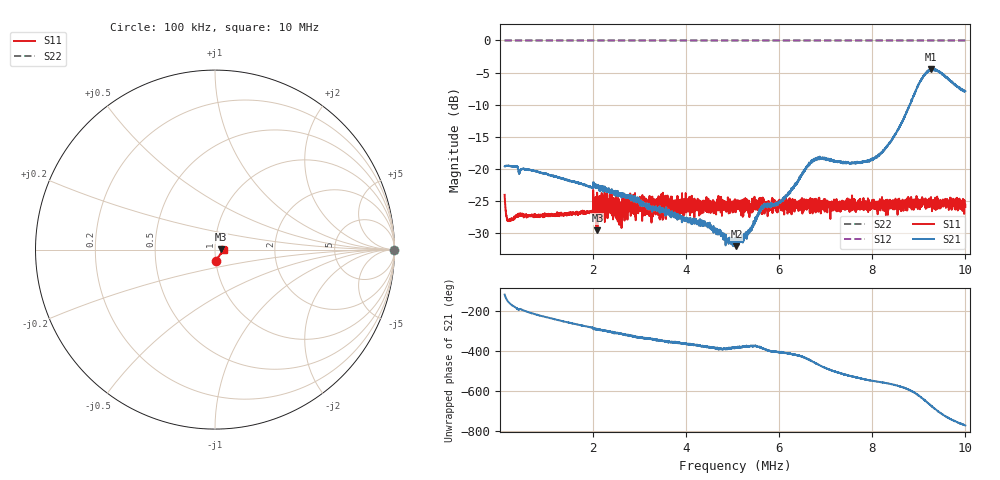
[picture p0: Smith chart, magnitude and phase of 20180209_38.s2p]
! Anritsu VNA Master:  Model: MS2026C/19
! SN:  1815009
! /card0/usr/20180209_38.s2p
! Existing Calibration Information:
! TYPE:  Current Settings,  Active Cal Settings
! TIME:  09/02/2018 11:12:23 PM,  09/02/2018 11:58:48 AM
! INTERNAL TEMP:  52.8 C,  48.8 C
! # POINTS:  4001,  4001
! START FREQ:  100.000 kHz,  100.000 kHz
! STOP FREQ:  10.000 MHz,  10.000 MHz
! SOURCE POWER:  Low,  Low
! IFBW:  500 Hz,  500 Hz
! AVG FACTOR:  5 ,  1
! REF PLANE 1:  0 mm,  0 mm
! REF PLANE 2:  0 mm,  0 mm
! CAL TYPE:  1P2P S11,S21,  1P2P S11,S21
! CAL METHOD:  SOLT,  SOLT
! CAL LINE TYPE:  Coax,  Coax
! DUT PORT 1:  N-Conn(M),  N-Conn(M)
! DUT PORT 2:  N-Conn(M),  N-Conn(M)
! CAL STATUS:  OK: Accuracy High,  --
# GHZ S RI R 50.0
! FREQ.GHZ  S11RE  S11IM  S21RE  S21IM  S12RE  S12IM  S22RE  S22IM
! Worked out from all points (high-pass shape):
!   4001 points, 100 kHz to 10 MHz, reference 50 ohm
!   highest |S21| = -4.47 dB at 9.262 MHz (marker M1); lowest = -32.1 dB at 5.082 MHz (marker M2)
!   |S21| within 3 dB of the highest: 8.956 MHz to 9.87 MHz (913.6 kHz wide, 9.71 % of centre); 9.873648 MHz to 9.881708 MHz (8.06 kHz wide, 0.0816 % of centre)
!   lowest |S11| = -29.6 dB at 2.095 MHz (marker M3), VSWR 1.07, Z = 53.4 + j0.246 ohm
!   |S11| at or under -10 dB: start of sweep to end of sweep
!   |S22| runs from 0.0 to 0.0 dB; largest |S21 - S12| = 1.2
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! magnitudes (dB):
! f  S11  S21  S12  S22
! 100 kHz  -24.1  -19.6  0.0  0.0
! 159.4 kHz  -28.1  -19.5  0.0  0.0
! 201.5 kHz  -28.0  -19.5  0.0  0.0
! 429.2 kHz  -27.2  -20.5  0.0  0.0
! 1.751 MHz  -26.8  -22.4  0.0  0.0
! 2.095 MHz  -29.6  -22.5  0.0  0.0
! 2.575 MHz  -25.6  -24.2  0.0  0.0
! 2.793 MHz  -26.2  -24.4  0.0  0.0
! 3.402 MHz  -26.8  -26.1  0.0  0.0
! 4.434 MHz  -25.3  -28.7  0.0  0.0
! 5.05 MHz  -24.8  -31.4  0.0  0.0
! 5.082 MHz  -25.1  -32.1  0.0  0.0
! 5.389 MHz  -25.9  -29.6  0.0  0.0
! 5.646 MHz  -24.5  -25.8  0.0  0.0
! 6.164 MHz  -25.7  -24.2  0.0  0.0
! 6.701 MHz  -26.0  -19.0  0.0  0.0
! 7.884 MHz  -26.1  -18.7  0.0  0.0
! 8.352 MHz  -25.7  -16.2  0.0  0.0
! 8.631 MHz  -25.4  -12.8  0.0  0.0
! 9.04 MHz  -24.9  -6.3  0.0  0.0
! 9.262 MHz  -24.4  -4.5  0.0  0.0
! 10 MHz  -25.9  -7.9  0.0  0.0
